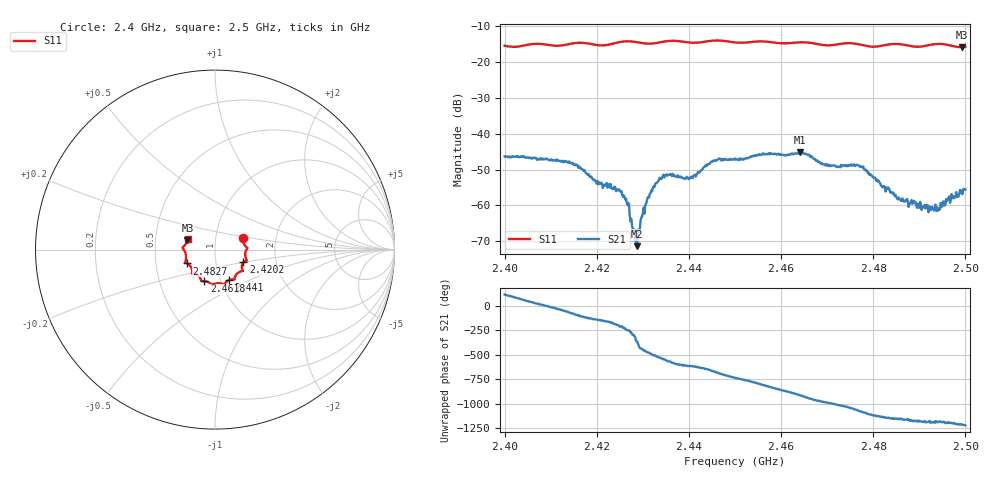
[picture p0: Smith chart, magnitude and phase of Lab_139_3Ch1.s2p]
# Hz S RI R 50
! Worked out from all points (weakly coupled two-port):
!   601 points, 2.4 GHz to 2.5 GHz, reference 50 ohm
!   highest |S21| = -45.21 dB at 2.464 GHz (marker M1); lowest = -71.4 dB at 2.4287 GHz (marker M2)
!   lowest |S11| = -15.8 dB at 2.4993 GHz (marker M3), VSWR 1.39, Z = 36.5 + j3.85 ohm
!   |S11| at or under -10 dB: start of sweep to end of sweep
!   S12 and S22 are empty: the file has one direction only
!   S11 on the Smith chart (normalised r, x): 2.4 GHz: 1.36, +0.18; 2.4202 GHz: 1.36, -0.20; 2.441 GHz: 1.10, -0.39; 2.4618 GHz: 0.84, -0.30; 2.4827 GHz: 0.72, -0.11; 2.5 GHz: 0.73, +0.09
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2.4e9  0.1582 0.0624  -0.00188 0.00446  0 0  0 0
2.416667e9  0.1772 -0.0608  -0.00111 -0.00305  0 0  0 0
2.420167e9  0.1584 -0.0711  -0.00179 -0.00129  0 0  0 0
2.425333e9  0.1549 -0.1154  -0.00134 0.00086  0 0  0 0
2.4265e9  0.1563 -0.1187  -0.000437 0.001  0 0  0 0
2.428167e9  0.1515 -0.1199  0.0003 0.000348  0 0  0 0
2.428667e9  0.1483 -0.1205  0.000269 -2.45e-05  0 0  0 0
2.431e9  0.1269 -0.1304  -0.00058 -0.00114  0 0  0 0
2.433333e9  0.1114 -0.1511  -0.00208 -0.000612  0 0  0 0
2.441e9  0.0784 -0.1697  -0.00042 0.00258  0 0  0 0
2.445167e9  0.0518 -0.1938  0.00255 0.00336  0 0  0 0
2.45e9  0.0282 -0.1874  0.00434 -0.00125  0 0  0 0
2.461833e9  -0.0596 -0.1758  -0.00488 -0.00165  0 0  0 0
2.464e9  -0.0738 -0.1755  -0.00536 0.00121  0 0  0 0
2.466667e9  -0.0788 -0.1681  -0.00299 0.00381  0 0  0 0
2.477333e9  -0.1268 -0.1215  0.0035 8.12e-05  0 0  0 0
2.482667e9  -0.1563 -0.0771  0.000736 -0.00138  0 0  0 0
2.483333e9  -0.1608 -0.0752  0.000824 -0.00155  0 0  0 0
2.485667e9  -0.1658 -0.0687  0.000415 -0.00118  0 0  0 0
2.4935e9  -0.1795 0.00757  -0.000406 -0.000943  0 0  0 0
2.499333e9  -0.1539 0.0513  -0.00101 -0.00102  0 0  0 0
2.5e9  -0.152 0.0608  -0.00131 -0.00104  0 0  0 0
